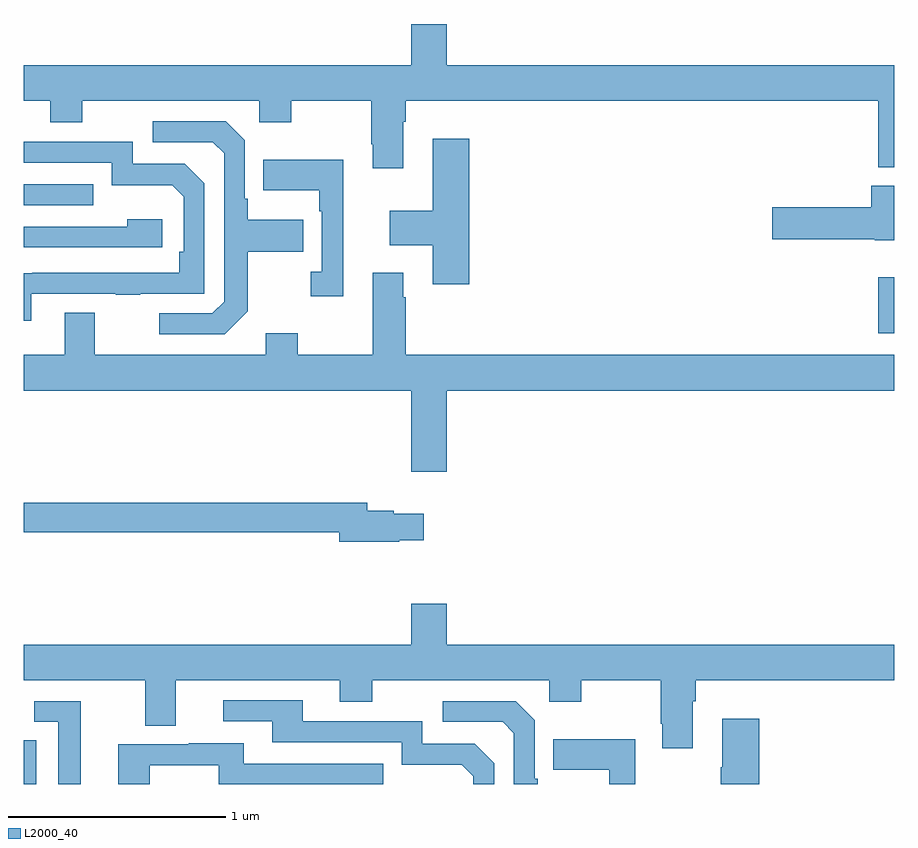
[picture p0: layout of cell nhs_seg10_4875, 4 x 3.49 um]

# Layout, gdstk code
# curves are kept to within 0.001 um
import gdstk
lib = gdstk.Library(unit=1e-6, precision=1e-09)
def R(c, l, rs):  # rectangles x0, y0, x1, y1
    for r in rs: c.add(gdstk.rectangle(r[:2], r[2:], *l))
def P(c, l, *ps):  # polygons
    for p in ps: c.add(gdstk.Polygon(p, *l))
L2000_40 = (2000, 40)

nhs_seg10_4875 = lib.new_cell('nhs_seg10_4875')
R(nhs_seg10_4875, L2000_40, [(391,1306.5,391.056,1306.7), (394.926,1308.572,395,1308.829), (391,1309.161,391.319,1309.257)])
P(nhs_seg10_4875, L2000_40, [(392.743,1309.544),(392.756,1309.544),(392.756,1309.64),(394.927,1309.64),(394.927,1309.334),(395,1309.334),(395,1309.804),(392.944,1309.804),(392.944,1309.993),(392.78,1309.993),(392.78,1309.804),(391,1309.804),(391,1309.64),(391.121,1309.64),(391.121,1309.541),(391.269,1309.541),(391.269,1309.64),(392.082,1309.64),(392.082,1309.541),(392.229,1309.541),(392.229,1309.64),(392.596,1309.64),(392.596,1309.441),(392.603,1309.441),(392.603,1309.329),(392.743,1309.329)],
  [(392.029,1308.673),(392.029,1308.946),(392.285,1308.946),(392.285,1309.093),(392.029,1309.093),(392.029,1309.189),(392.016,1309.189),(392.016,1309.458),(391.929,1309.545),(391.593,1309.545),(391.593,1309.449),(391.869,1309.449),(391.92,1309.398),(391.92,1308.717),(391.866,1308.663),(391.623,1308.663),(391.623,1308.567),(391.923,1308.567)],
  [(393.047,1309.465),(392.879,1309.465),(392.879,1309.135),(392.682,1309.135),(392.682,1308.977),(392.879,1308.977),(392.879,1308.798),(393.047,1308.798)],
  [(391.033,1308.753),(391.423,1308.753),(391.423,1308.748),(391.535,1308.748),(391.535,1308.753),(391.83,1308.753),(391.83,1309.26),(391.74,1309.35),(391.5,1309.35),(391.5,1309.452),(391,1309.452),(391,1309.356),(391.404,1309.356),(391.404,1309.253),(391.681,1309.253),(391.734,1309.2),(391.734,1308.946),(391.714,1308.946),(391.714,1308.849),(391,1308.848),(391,1308.63),(391.033,1308.63)],
  [(392.468,1309.369),(392.101,1309.369),(392.101,1309.229),(392.358,1309.229),(392.358,1309.133),(392.37,1309.133),(392.37,1308.854),(392.319,1308.854),(392.319,1308.741),(392.468,1308.741)],
  [(395,1309.249),(394.895,1309.249),(394.895,1309.151),(394.44,1309.151),(394.44,1309.004),(394.911,1309.004),(394.911,1308.998),(395,1308.998)],
  [(391.636,1309.096),(391.475,1309.096),(391.475,1309.062),(391,1309.062),(391,1308.966),(391.636,1308.966)],
  [(392.944,1308.308),(395,1308.308),(395,1308.472),(392.756,1308.472),(392.756,1308.737),(392.743,1308.737),(392.743,1308.85),(392.603,1308.85),(392.603,1308.472),(392.259,1308.472),(392.259,1308.571),(392.111,1308.571),(392.111,1308.472),(391.327,1308.472),(391.327,1308.667),(391.187,1308.667),(391.187,1308.472),(391,1308.472),(391,1308.308),(392.78,1308.308),(392.78,1307.934),(392.944,1307.934)],
  [(392.726,1307.621),(392.839,1307.621),(392.839,1307.743),(392.7,1307.743),(392.7,1307.756),(392.578,1307.756),(392.578,1307.792),(391,1307.792),(391,1307.656),(392.45,1307.656),(392.45,1307.614),(392.726,1307.614)],
  [(394.075,1306.88),(394.088,1306.88),(394.088,1306.976),(395,1306.976),(395,1307.14),(392.944,1307.14),(392.944,1307.329),(392.78,1307.329),(392.78,1307.14),(391,1307.14),(391,1306.976),(391.559,1306.976),(391.559,1306.768),(391.699,1306.768),(391.699,1306.976),(392.453,1306.976),(392.453,1306.877),(392.601,1306.877),(392.601,1306.976),(393.414,1306.976),(393.414,1306.877),(393.561,1306.877),(393.561,1306.976),(393.928,1306.976),(393.928,1306.777),(393.935,1306.777),(393.935,1306.665),(394.075,1306.665)],
  [(393.162,1306.596),(393.072,1306.686),(392.832,1306.686),(392.832,1306.788),(392.281,1306.788),(392.281,1306.884),(391.917,1306.884),(391.917,1306.788),(392.141,1306.788),(392.141,1306.692),(392.736,1306.692),(392.736,1306.589),(393.013,1306.589),(393.066,1306.536),(393.066,1306.5),(393.162,1306.5)],
  [(393.361,1306.525),(393.348,1306.525),(393.348,1306.794),(393.261,1306.881),(392.925,1306.881),(392.925,1306.785),(393.201,1306.785),(393.252,1306.734),(393.252,1306.5),(393.361,1306.5)],
  [(391.261,1306.881),(391.047,1306.881),(391.047,1306.785),(391.157,1306.785),(391.157,1306.5),(391.261,1306.5)],
  [(394.379,1306.801),(394.211,1306.801),(394.211,1306.577),(394.204,1306.577),(394.204,1306.5),(394.379,1306.5)],
  [(393.811,1306.705),(393.433,1306.705),(393.433,1306.565),(393.69,1306.565),(393.69,1306.5),(393.811,1306.5)],
  [(391.578,1306.587),(391.896,1306.587),(391.896,1306.5),(392.651,1306.5),(392.651,1306.593),(392.011,1306.593),(392.011,1306.687),(391.757,1306.687),(391.757,1306.683),(391.433,1306.683),(391.433,1306.5),(391.578,1306.5)])

lib.write_gds('nhs_seg10_4875.gds')
